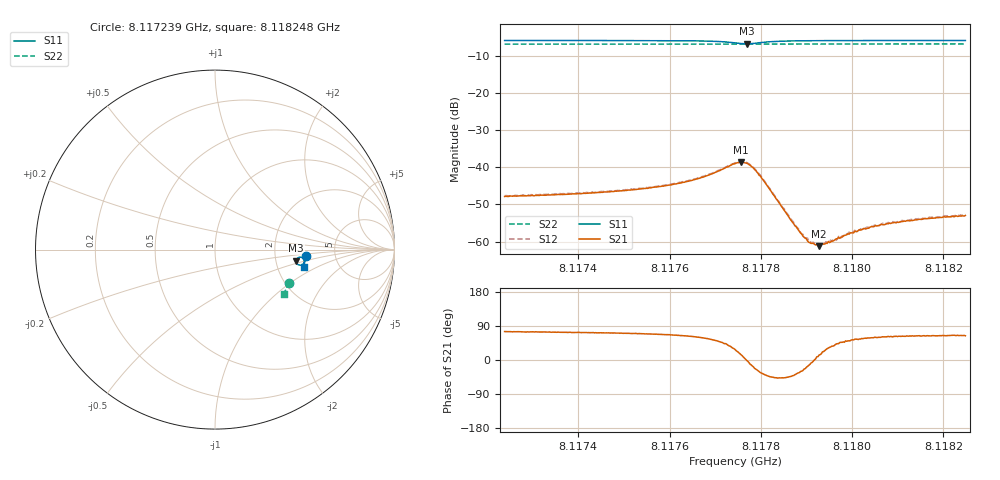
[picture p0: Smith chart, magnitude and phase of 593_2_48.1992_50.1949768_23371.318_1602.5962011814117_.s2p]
#  HZ  S  RI  R  50.00
! Rohde & Schwarz Vector Network Analyzer
! Rohde-Schwarz,ZNB20-2Port,1311601062101988,3.16
! Created: UTC 3/20/2024, 12:02:41 PM
! freq[Hz]  re:S11  im:S11  re:S21  im:S21  re:S12  im:S12  re:S22  im:S22
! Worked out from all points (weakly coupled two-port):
!   401 points, 8.117239 GHz to 8.118248 GHz, reference 50 ohm
!   highest |S21| = -38.70 dB at 8.117756 GHz (marker M1); lowest = -61.2 dB at 8.117928 GHz (marker M2)
!   lowest |S11| = -6.8 dB at 8.117769 GHz (marker M3), VSWR 2.68, Z = 130 - j20.4 ohm
!   |S11| at or under -10 dB: nowhere
!   |S22| runs from -6.9 to -6.8 dB; largest |S21 - S12| = 0.00034
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8.1172385e9  0.5055 -0.0338  0.00104 0.00391  0.00118 0.00398  0.413 -0.1843
8.1174077e9  0.5037 -0.0481  0.00134 0.00422  0.00143 0.00432  0.4084 -0.1953
8.1174834e9  0.5026 -0.0551  0.00154 0.0045  0.00163 0.00456  0.406 -0.2002
8.1175768e9  0.5 -0.065  0.00209 0.00509  0.00214 0.00515  0.4035 -0.2062
8.1176374e9  0.4964 -0.0731  0.00288 0.00574  0.00292 0.00586  0.4013 -0.2101
8.1176677e9  0.4929 -0.0781  0.00367 0.00617  0.00376 0.00633  0.4002 -0.2121
8.1177434e9  0.4627 -0.0832  0.00986 0.0052  0.0102 0.0052  0.3967 -0.2165
8.117756e9  0.4548 -0.0749  0.0112 0.00291  0.0115 0.00295  0.3962 -0.2168
8.1177686e9  0.4522 -0.0619  0.0113 -0.000137  0.0116 -0.000212  0.3957 -0.2168
8.1177813e9  0.4578 -0.0497  0.00966 -0.00268  0.00988 -0.00289  0.3958 -0.2172
8.1177964e9  0.4699 -0.0428  0.00669 -0.00396  0.00696 -0.0041  0.3958 -0.218
8.1178898e9  0.4977 -0.0612  0.0011 -0.000624  0.00111 -0.000588  0.3942 -0.2247
8.1179049e9  0.4983 -0.0638  0.000952 -0.000235  0.000975 -0.000233  0.3938 -0.2255
8.1179125e9  0.4987 -0.0651  0.000941 -0.000103  0.000964 -0.000136  0.3935 -0.2262
8.1179277e9  0.499 -0.0675  0.000846 0.000197  0.000902 0.000231  0.3929 -0.2272
8.1179605e9  0.4993 -0.072  0.00082 0.000634  0.000797 0.000689  0.392 -0.2292
8.1179882e9  0.4992 -0.0753  0.000804 0.000939  0.000818 0.00097  0.3909 -0.2311
8.1180211e9  0.4989 -0.0789  0.000791 0.00121  0.000835 0.00118  0.3899 -0.233
8.1180438e9  0.4988 -0.0813  0.000822 0.00136  0.000835 0.00138  0.3891 -0.2345
8.1180816e9  0.4983 -0.0848  0.000856 0.00155  0.00083 0.00157  0.3879 -0.2369
8.1181624e9  0.4972 -0.0921  0.000895 0.00182  0.00087 0.00183  0.3849 -0.242
8.1182482e9  0.4959 -0.0992  0.000985 0.00202  0.000979 0.00211  0.382 -0.2472
